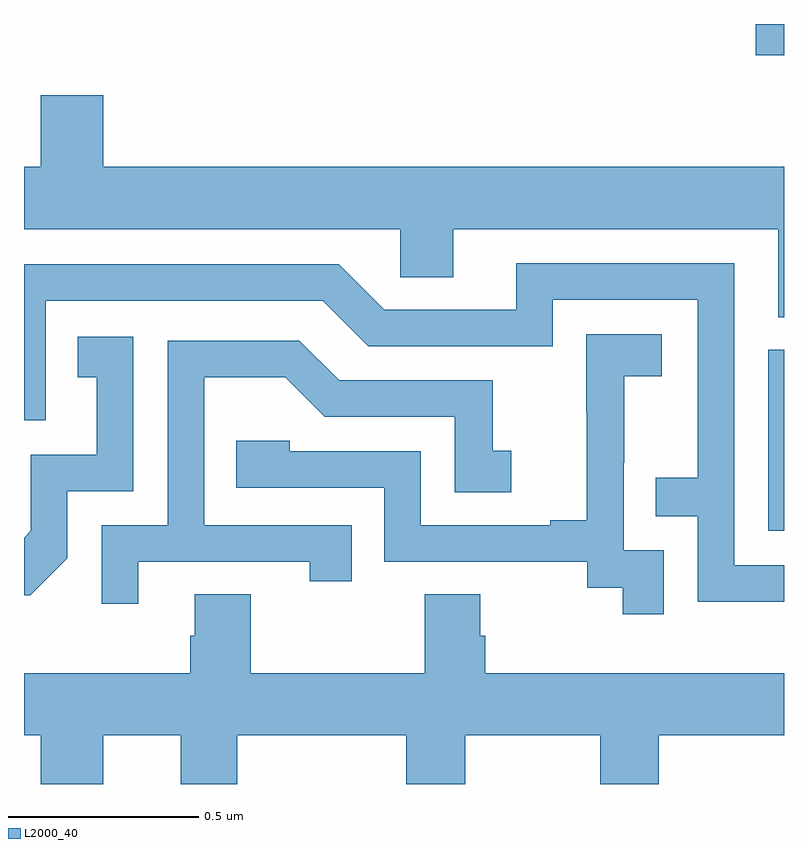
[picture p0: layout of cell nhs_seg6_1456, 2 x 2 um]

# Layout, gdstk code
import gdstk
lib = gdstk.Library(unit=1e-6, precision=1e-09)
def R(c, l, rs):  # rectangles x0, y0, x1, y1
    for r in rs: c.add(gdstk.rectangle(r[:2], r[2:], *l))
def P(c, l, *ps):  # polygons
    for p in ps: c.add(gdstk.Polygon(p, *l))
L2000_40 = (2000, 40)

nhs_seg6_1456 = lib.new_cell('nhs_seg6_1456')
R(nhs_seg6_1456, L2000_40, [(130.959,989.166,131,989.643), (130.926,990.418,131,990.5)])
P(nhs_seg6_1456, L2000_40, [(131,990.124),(129.208,990.124),(129.208,990.313),(129.044,990.313),(129.044,990.124),(129,990.124),(129,989.96),(129.99,989.96),(129.99,989.833),(130.129,989.833),(130.129,989.96),(130.985,989.96),(130.985,989.728),(131,989.728)],
  [(131,989.076),(130.869,989.076),(130.869,989.871),(130.295,989.871),(130.295,989.748),(129.948,989.748),(129.828,989.868),(129,989.868),(129,989.457),(129.057,989.457),(129.057,989.772),(129.786,989.772),(129.906,989.652),(130.392,989.652),(130.392,989.775),(130.773,989.775),(130.773,989.306),(130.663,989.306),(130.663,989.205),(130.773,989.205),(130.773,988.98),(131,988.98)],
  [(130.683,989.115),(130.578,989.115),(130.578,989.345),(130.58,989.345),(130.58,989.573),(130.678,989.573),(130.678,989.683),(130.48,989.683),(130.48,989.477),(130.481,989.477),(130.481,989.194),(130.385,989.194),(130.385,989.181),(130.044,989.181),(130.044,989.376),(129.699,989.376),(129.699,989.403),(129.559,989.403),(129.559,989.28),(129.948,989.28),(129.948,989.085),(130.482,989.085),(130.482,989.017),(130.575,989.017),(130.575,988.947),(130.683,988.947)],
  [(129.114,989.094),(129.114,989.271),(129.288,989.271),(129.288,989.677),(129.142,989.677),(129.142,989.571),(129.191,989.571),(129.191,989.367),(129.018,989.367),(129.018,989.166),(129,989.148),(129,988.997),(129.016,988.997)],
  [(129.301,989.085),(129.752,989.085),(129.752,989.034),(129.863,989.034),(129.863,989.181),(129.474,989.181),(129.474,989.57),(129.688,989.57),(129.792,989.466),(130.134,989.466),(130.134,989.268),(130.282,989.268),(130.282,989.377),(130.233,989.377),(130.233,989.562),(129.829,989.562),(129.724,989.667),(129.378,989.667),(129.378,989.181),(129.204,989.181),(129.204,988.974),(129.301,988.974)],
  [(129.208,988.628),(129.413,988.628),(129.413,988.5),(129.561,988.5),(129.561,988.628),(130.006,988.628),(130.006,988.5),(130.161,988.5),(130.161,988.628),(130.516,988.628),(130.516,988.5),(130.671,988.5),(130.671,988.628),(131,988.628),(131,988.792),(130.214,988.792),(130.214,988.89),(130.201,988.89),(130.201,989),(130.054,989),(130.054,988.792),(129.597,988.792),(129.597,989),(129.449,989),(129.449,988.89),(129.437,988.89),(129.437,988.792),(129,988.792),(129,988.628),(129.044,988.628),(129.044,988.5),(129.208,988.5)])

lib.write_gds('nhs_seg6_1456.gds')
